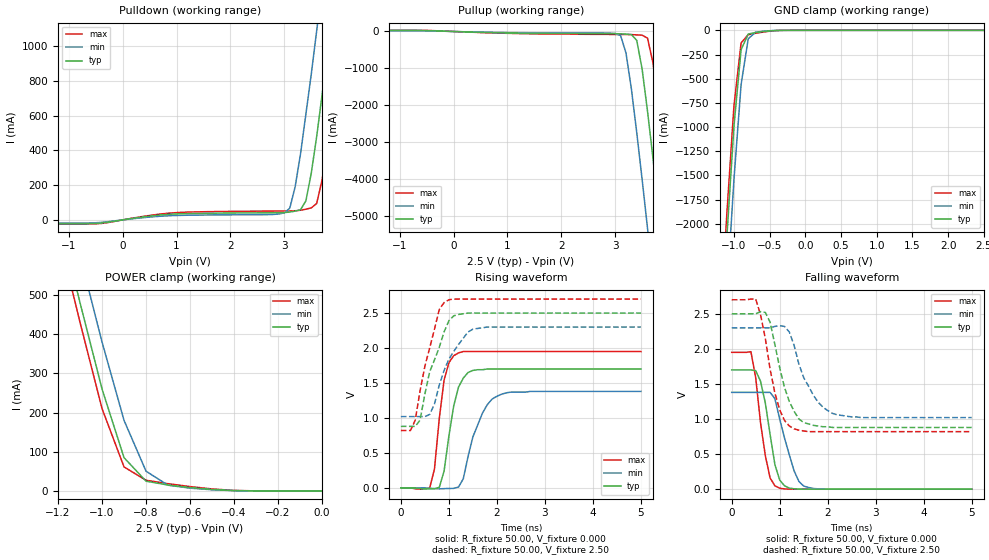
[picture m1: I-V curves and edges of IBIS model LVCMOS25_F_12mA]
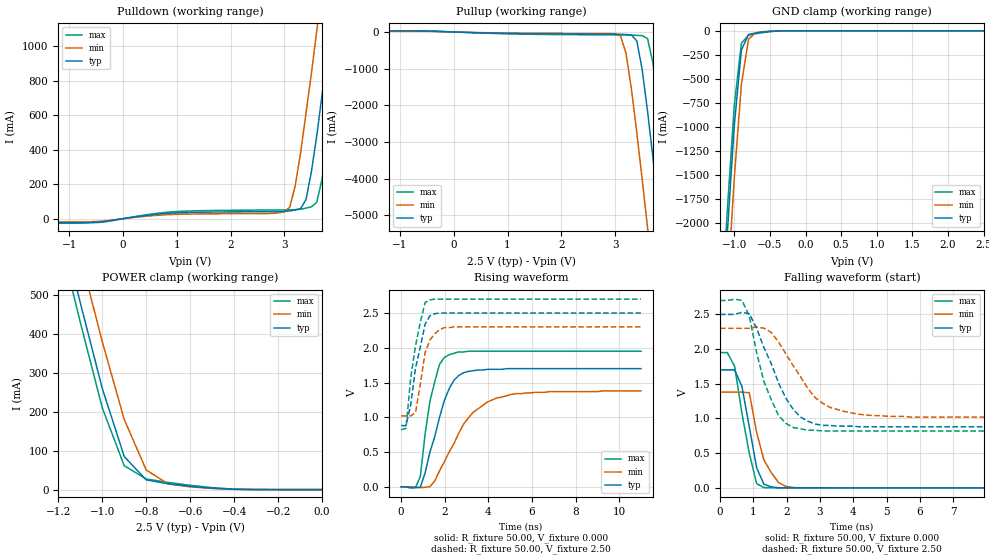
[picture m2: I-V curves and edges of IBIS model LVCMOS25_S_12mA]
| / 7\'7
| \ \   Xilinx Inc.
| / /
| \_\/.\   IBIS Models for Spartan-3
| IBIS file spartan3.ibs created by appending individual files created
| using s2ibis2 version 1.1 North Carolina State University
| Electronics Research Laboratory 1995
[IBIS ver]   3.2
[File name]   TOP.ibs
[File Rev]   3.4.4
[Date]   Fri Jan 08 12:42:32 2016
[Source]   Spartan-3 layout and silicon models.
[Notes]   Xilinx Spartan-3 I/O IBIS models.
   To accurately model package parasitics, please follow the
   instructions at:  http://www.xilinx.com/xlnx/
   xil_ans_display.jsp?getPagePath=11754
   LVDS and LVPECL drivers require the use of external
   termination resistors to provide the correct voltage levels.
   For more information, refer to the Spartan-3 documentation.
   NOTE: This file is compliant with IBIS Version 3.2, but it
   may not implement all approved 3.2 features.
   NOTE:  Newer versions of the buffer models may be available.
   Check the web (http://www.xilinx.com/support/sw_ibis.htm) for
   the latest file revision.  However, please be aware that the
   web files are not compatible for use with IBISWriter, and
   must be manually annotated, should their use be preferred.
[Disclaimer] The data in these models is derived from HSPICE simulations
                 using modeling information extracted from the target process.
                 While a great deal of care has been taken to provide
                 information that is accurate, this model is considered
                 PRELIMINARY as it has not been verified by actual silicon
                 measurement.
[Copyright]   Copyright 2004 Xilinx Inc., All rights reserved.
|   Component Spartan-3
[Component]   Spartan-3
[Manufacturer]   Xilinx, Inc.
[Package]
| For Package Type ft256
| variable   typ   min   max
R_pkg   0.141m   0.94m   0.185m
L_pkg   4.0nH   1.9nH   6.0nH
C_pkg   0.8pF   0.6pF   0.9pF
[Pin]  signal_name   model_name   R_pin   L_pin   C_pin
B1   IO_L01P_7/VRN_7   NC
C1   IO_L01N_7/VRP_7   NC
C3   IO_L16P_7/VREF_7   NC
C2   IO_L16N_7   NC
D2   IO_L17P_7   NC
D1   IO_L17N_7   NC
D3   IO_L19P_7   NC
E3   IO_L19N_7/VREF_7   NC
E2   IO_L20P_7   NC
E1   IO_L20N_7   NC
E4   IO_L21P_7   NC
F4   IO_L21N_7   NC
F3   IO_L22P_7   NC
F2   IO_L22N_7   NC
F5   IO_L23P_7   NC
G5   IO_L23N_7   NC
G4   IO_L24P_7   NC
G3   IO_L24N_7   NC
G2   IO   NC
H4   IO_L39P_7   NC
H3   IO_L39N_7   NC
G1   IO_L40P_7   NC
H1   IO_L40N_7/VREF_7   NC
J1   IO_L40P_6/VREF_6   NC
J2   IO_L40N_6   NC
J3   IO_L39P_6   NC
J4   IO_L39N_6   NC
K1   IO   NC
K2   IO_L24P_6   NC
K3   IO_L24N_6/VREF_6   NC
K4   IO_L23P_6   NC
K5   IO_L23N_6   NC
L2   IO_L22P_6   NC
L3   IO_L22N_6   NC
L4   IO_L21P_6   NC
L5   IO_L21N_6   NC
M1   IO_L20P_6   NC
M2   IO_L20N_6   NC
M3   IO_L19P_6   NC
M4   IO_L19N_6   NC
N1   IO_L17P_6/VREF_6   NC
N2   IO_L17N_6   NC
N3   IO_L16P_6   NC
P2   IO_L16N_6   NC
P1   IO_L01P_6/VRN_6   NC
R1   IO_L01N_6/VRP_6   NC
T2   M1   LVCMOS25_F_12mA
P3   M0   LVCMOS25_F_12mA
P4   M2   LVCMOS25_F_12mA
R3   CS_B   LVCMOS25_F_12mA
T3   RDWR_B   LVCMOS25_F_12mA
R4   IO_L10P_5/VRN_5   NC
T4   IO_L10N_5/VRP_5   NC
T5   IO   NC
P5   IO_L27P_5   NC
R5   IO_L27N_5/VREF_5   NC
M6   D7   LVCMOS25_F_12mA
N6   D6   LVCMOS25_F_12mA
N5   IO   NC
P6   IO_L29P_5/VREF_5   NC
R6   IO_L29N_5   NC
M7   IO_L30P_5   NC
N7   IO_L30N_5   NC
P7   IO   NC
R7   D5   LVCMOS25_F_12mA
T7   D4   LVCMOS25_F_12mA
N8   GCLK2   LVCMOS25_F_12mA
P8   GCLK3   LVCMOS25_F_12mA
T8   IO/VREF_5   NC
T9   GCLK0   LVCMOS25_F_12mA
R9   GCLK1   LVCMOS25_F_12mA
P9   DOUT/BUSY   NC
N9   INIT_B   LVCMOS25_F_12mA
T10   IO/VREF_4   NC
R10   D3   LVCMOS25_F_12mA
P10   D2   LVCMOS25_F_12mA
N10   IO_L29P_4   NC
M10   IO_L29N_4   NC
R11   IO_L28P_4   NC
P11   IO_L28N_4   NC
N11   D1   LVCMOS25_F_12mA
M11   DIN/D0   LVCMOS25_F_12mA
T12   IO   NC
R12   IO_L25P_4   NC
P12   IO_L25N_4   NC
N12   IO/VREF_4   NC
T14   IO   NC
T13   IO_L01P_4/VRN_4   NC
R13   IO_L01N_4/VRP_4   NC
P13   IO/VREF_4   NC
R14   DONE   LVCMOS25_F_12mA
T15   CCLK   LVCMOS25_S_12mA
R16   IO_L01P_3/VRN_3   NC
P16   IO_L01N_3/VRP_3   NC
P14   IO_L16P_3   NC
P15   IO_L16N_3   NC
N15   IO_L17P_3/VREF_3   NC
N16   IO_L17N_3   NC
N14   IO_L19P_3   NC
M14   IO_L19N_3   NC
M15   IO_L20P_3   NC
M16   IO_L20N_3   NC
M13   IO_L21P_3   NC
L13   IO_L21N_3   NC
L14   IO_L22P_3   NC
L15   IO_L22N_3   NC
L12   IO_L23P_3/VREF_3   NC
K12   IO_L23N_3   NC
K13   IO_L24P_3   NC
K14   IO_L24N_3   NC
K15   IO   NC
J13   IO_L39P_3   NC
J14   IO_L39N_3   NC
K16   IO_L40P_3   NC
J16   IO_L40N_3/VREF_3   NC
H16   IO_L40P_2/VREF_2   NC
H15   IO_L40N_2   NC
H14   IO_L39P_2   NC
H13   IO_L39N_2   NC
G16   IO   NC
G15   IO_L24P_2   NC
G14   IO_L24N_2   NC
G13   IO_L23P_2   NC
G12   IO_L23N_2/VREF_2   NC
F15   IO_L22P_2   NC
F14   IO_L22N_2   NC
F13   IO_L21P_2   NC
F12   IO_L21N_2   NC
E16   IO_L20P_2   NC
E15   IO_L20N_2   NC
E14   IO_L19P_2   NC
E13   IO_L19N_2   NC
D16   IO_L17P_2/VREF_2   NC
D15   IO_L17N_2   NC
D14   IO_L16P_2   NC
C15   IO_L16N_2   NC
C16   IO_L01P_2/VRN_2   NC
B16   IO_L01N_2/VRP_2   NC
A15   TDO   LVCMOS25_F_12mA
C14   TCK   LVCMOS25_F_12mA
C13   TMS   LVCMOS25_F_12mA
B14   IO_L01P_1/VRN_1   NC
A14   IO_L01N_1/VRP_1   NC
B13   IO_L10P_1   NC
A13   IO_L10N_1/VREF_1   NC
A12   IO   NC
C12   IO_L27P_1   NC
B12   IO_L27N_1   NC
E11   IO_L28P_1   NC
D11   IO_L28N_1   NC
D12   IO/VREF_1   NC
C11   IO_L29P_1   NC
B11   IO_L29N_1   NC
E10   IO_L30P_1   NC
D10   IO_L30N_1   NC
C10   IO   NC
B10   IO_L31P_1   NC
A10   IO_L31N_1/VREF_1   NC
D9   GCLK4   LVCMOS25_F_12mA
C9   GCLK5   LVCMOS25_F_12mA
A9   IO   NC
A8   GCLK6   LVCMOS25_F_12mA
B8   GCLK7   LVCMOS25_F_12mA
C8   IO_L31P_0/VREF_0   NC
D8   IO_L31N_0   NC
A7   IO   NC
B7   IO_L30P_0   NC
C7   IO_L30N_0   NC
D7   IO_L29P_0   NC
E7   IO_L29N_0   NC
B6   IO_L28P_0   NC
C6   IO_L28N_0   NC
D6   IO_L27P_0   NC
E6   IO_L27N_0   NC
A5   IO   NC
B5   IO_L25P_0   NC
C5   IO_L25N_0   NC
D5   IO/VREF_0   NC
A4   IO_L01P_0/VRN_0   NC
B4   IO_L01N_0/VRP_0   NC
A3   IO/VREF_0   NC
C4   HSWAP_EN   LVCMOS25_F_12mA
B3   PROG_B   LVCMOS25_F_12mA
A2   TDI   LVCMOS25_F_12mA
B2   GND   GND
H2   GND   GND
R2   GND   GND
F6   GND   GND
L6   GND   GND
G7   GND   GND
H7   GND   GND
J7   GND   GND
K7   GND   GND
G8   GND   GND
H8   GND   GND
J8   GND   GND
K8   GND   GND
R8   GND   GND
B9   GND   GND
G9   GND   GND
H9   GND   GND
J9   GND   GND
K9   GND   GND
G10   GND   GND
H10   GND   GND
J10   GND   GND
K10   GND   GND
F11   GND   GND
L11   GND   GND
B15   GND   GND
J15   GND   GND
R15   GND   GND
A16   GND   GND
T16   GND   GND
A1   GND   GND
T1   GND   GND
A11   VCCAUX   POWER
A6   VCCAUX   POWER
F1   VCCAUX   POWER
F16   VCCAUX   POWER
L1   VCCAUX   POWER
L16   VCCAUX   POWER
T11   VCCAUX   POWER
T6   VCCAUX   POWER
E8   VCCO_0   POWER
F7   VCCO_0   POWER
F8   VCCO_0   POWER
E9   VCCO_1   POWER
F10   VCCO_1   POWER
F9   VCCO_1   POWER
G11   VCCO_2   POWER
H11   VCCO_2   POWER
H12   VCCO_2   POWER
J11   VCCO_3   POWER
J12   VCCO_3   POWER
K11   VCCO_3   POWER
L10   VCCO_4   POWER
L9   VCCO_4   POWER
M9   VCCO_4   POWER
L7   VCCO_5   POWER
L8   VCCO_5   POWER
M8   VCCO_5   POWER
J5   VCCO_6   POWER
J6   VCCO_6   POWER
K6   VCCO_6   POWER
G6   VCCO_7   POWER
H5   VCCO_7   POWER
H6   VCCO_7   POWER
D13   VCCINT   POWER
D4   VCCINT   POWER
E12   VCCINT   POWER
E5   VCCINT   POWER
M12   VCCINT   POWER
M5   VCCINT   POWER
N13   VCCINT   POWER
N4   VCCINT   POWER
[Diff Pin]   inv_pin   vdiff   tdelay_typ   tdelay_min   tdelay_max
| Models and submodels in the file (2): LVCMOS25_F_12mA (I/O), LVCMOS25_S_12mA (I/O)
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|   Model LVCMOS25_F_12mA
[Model]   LVCMOS25_F_12mA
Model_type   I/O
Polarity   Non-Inverting
Enable   Active-Low
Vinl =   0.70V
Vinh =   1.70V
Vmeas =   1.25V
Cref =  0.000F
Rref =   1.00M
Vref =  0.000V
C_comp   6.38pF   4.60pF   8.23pF
[Temperature Range]   25.00   85.00   0.000
[Voltage Range]   2.50V   2.30V   2.70V
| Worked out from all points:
|   slope of the pulldown table from 0 to 0.375 V, typ, clamps not added: 22.4 ohm
|   slope of the pullup table from 0 to 0.375 V, typ, clamps not added: 20.9 ohm
|   GND clamp passes 1 mA (typ) near -0.38 V on its own axis
|   POWER clamp passes 1 mA (typ) near -0.41 V on its own axis
|   rising waveform, R_fixture 50.00, V_fixture 0.000: 20-80 % time 250ps typ, 383ps min, 191ps max; typ from 0 V to 1.7 V
|   rising waveform, R_fixture 50.00, V_fixture 2.50: 20-80 % time 412ps typ, 466ps min, 365ps max; typ from 0.88 V to 2.5 V
|   falling waveform, R_fixture 50.00, V_fixture 0.000: 20-80 % time 246ps typ, 329ps min, 223ps max; typ from 1.7 V to 0 V
|   falling waveform, R_fixture 50.00, V_fixture 2.50: 20-80 % time 369ps typ, 462ps min, 324ps max; typ from 2.5 V to 0.88 V
[Pulldown]
| voltage   I(typ)   I(min)   I(max)
-2.5V     -22.79mA   -18.33mA   -24.32mA
3V        42.13mA    39.99mA    51.17mA
3.1V      45.16mA    67.34mA    51.44mA
3.2V      50.35mA    190mA      52.36mA
3.4V      110mA      610mA      61.47mA
3.5V      270mA      840mA      69.07mA
3.6V      480mA      1.09A      94.52mA
3.7V      720mA      1.34A      230mA
3.8V      960mA      1.59A      440mA
4V        1.47A      2.1A       920mA
4.2V      1.98A      2.62A      1.42A
5V        4.06A      4.7A       3.49A
[Pullup]
| voltage   I(typ)   I(min)   I(max)
-2.5V     29.39mA    22.89mA    32.78mA
3.1V      -62.94mA   -110mA     -80.48mA
3.2V      -69.54mA   -580mA     -81.46mA
3.3V      -83.32mA   -1.55A     -84.45mA
3.4V      -240mA     -2.74A     -91.48mA
3.5V      -1.02A     -4.01A     -100mA
3.6V      -2.16A     -5.33A     -180mA
3.7V      -3.42A     -6.68A     -840mA
3.8V      -4.74A     -8.05A     -1.95A
4V        -7.47A     -10.81A    -4.52A
4.2V      -10.25A    -13.6A     -7.24A
5V        -21.56A    -24.91A    -18.51A
[GND_clamp]
| voltage   I(typ)   I(min)   I(max)
-2.5V     -21.56A    -22.07A    -21.35A
-1.2V     -3.41A     -4.01A     -3.17A
-1.1V     -2.14A     -2.73A     -1.9A
-1V       -990mA     -1.54A     -780mA
-900mV    -200mA     -560mA     -130mA
-800mV    -38.51mA   -87.42mA   -44.56mA
-700mV    -22.72mA   -20.52mA   -30.56mA
-400mV    -1.21mA    -970uA     -2.67mA
2.5V      19.29nA    8.49uA     24.01nA
[POWER_clamp]
| voltage   I(typ)   I(min)   I(max)
-2.5V     4.06A      4.18A      4.02A
-1.2V     710mA      840mA      660mA
-1.1V     480mA      600mA      430mA
-1V       260mA      380mA      210mA
-900mV    84.79mA    180mA      61.18mA
-800mV    24.88mA    50.29mA    27.26mA
-700mV    15.03mA    14.55mA    18.43mA
-600mV    8.66mA     7.1mA      11.09mA
-400mV    790uA      730uA      1.23mA
0V        19.29nA    79.37nA    32.11nA
[Ramp]
dV/dt_r   1.02/0.24n   0.83/0.36n   1.17/0.19n
dV/dt_f   0.97/0.36n   0.77/0.46n   1.13/0.31n
R_load = 50.00
[Rising Waveform]
R_fixture = 50.00
V_fixture = 0.000
| time   V(typ)   V(min)   V(max)
0s        0V         1.57uV     0V
600ps     -12.38mV   -4.86mV    -2.14mV
700ps     -9.94mV    -10.81mV   270mV
900ps     240mV      -10.52mV   1.54V
1.1ns     1.17V      -6.78mV    1.89V
1.2ns     1.44V      12.6mV     1.93V
1.4ns     1.65V      450mV      1.95V
1.7ns     1.69V      1.07V      1.95V
2ns       1.7V       1.31V      1.95V
5ns       1.7V       1.38V      1.95V
[Rising Waveform]
R_fixture = 50.00
V_fixture = 2.50
V_fixture_min = 2.30
V_fixture_max = 2.70
| time   V(typ)   V(min)   V(max)
0s        880mV      1.02V      820mV
200ps     880mV      1.02V      820mV
300ps     880mV      1.02V      970mV
400ps     970mV      1.02V      1.39V
600ps     1.66V      1.05V      2V
700ps     1.83V      1.2V       2.27V
800ps     2.01V      1.47V      2.55V
1ns       2.39V      1.84V      2.69V
1.5ns     2.5V       2.27V      2.7V
5ns       2.5V       2.3V       2.7V
[Falling Waveform]
R_fixture = 50.00
V_fixture = 0.000
| time   V(typ)   V(min)   V(max)
0s        1.7V       1.38V      1.95V
400ps     1.7V       1.38V      1.96V
500ps     1.69V      1.38V      1.59V
600ps     1.54V      1.38V      950mV
800ps     780mV      1.38V      160mV
900ps     350mV      1.29V      47.26mV
1ns       130mV      1V         14.08mV
1.3ns     4.83mV     260mV      220uV
1.5ns     330uV      43.95mV    6.05uV
5ns       0V         0V         0V
[Falling Waveform]
R_fixture = 50.00
V_fixture = 2.50
V_fixture_min = 2.30
V_fixture_max = 2.70
| time   V(typ)   V(min)   V(max)
0s        2.5V       2.3V       2.7V
500ps     2.5V       2.3V       2.71V
700ps     2.52V      2.3V       2.15V
800ps     2.38V      2.3V       1.71V
1ns       1.73V      2.33V      1.13V
1.3ns     1.11V      2.05V      860mV
1.5ns     950mV      1.59V      830mV
1.7ns     910mV      1.34V      820mV
2.1ns     880mV      1.08V      820mV
5ns       880mV      1.02V      820mV
|   Model LVCMOS25_S_12mA
[Model]   LVCMOS25_S_12mA
Model_type   I/O
Polarity   Non-Inverting
Enable   Active-Low
Vinl =   0.70V
Vinh =   1.70V
Vmeas =   1.25V
Cref =  0.000F
Rref =   1.00M
Vref =  0.000V
C_comp   6.38pF   4.60pF   8.23pF
[Temperature Range]   25.00   85.00   0.000
[Voltage Range]   2.50V   2.30V   2.70V
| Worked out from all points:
|   slope of the pulldown table from 0 to 0.375 V, typ, clamps not added: 22.4 ohm
|   slope of the pullup table from 0 to 0.375 V, typ, clamps not added: 20.9 ohm
|   GND clamp passes 1 mA (typ) near -0.38 V on its own axis
|   POWER clamp passes 1 mA (typ) near -0.41 V on its own axis
|   rising waveform, R_fixture 50.00, V_fixture 0.000: 20-80 % time 933ps typ, 1.61ns min, 617ps max; typ from 0 V to 1.7 V
|   rising waveform, R_fixture 50.00, V_fixture 2.50: 20-80 % time 541ps typ, 469ps min, 523ps max; typ from 0.88 V to 2.5 V
|   falling waveform, R_fixture 50.00, V_fixture 0.000: 20-80 % time 383ps typ, 489ps min, 434ps max; typ from 1.7 V to 0 V
|   falling waveform, R_fixture 50.00, V_fixture 2.50: 20-80 % time 901ps typ, 1.09ns min, 666ps max; typ from 2.5 V to 0.88 V
[Pulldown]
| voltage   I(typ)   I(min)   I(max)
-2.5V     -23.3mA    -18.33mA   -26.2mA
3V        42.13mA    39.99mA    51.11mA
3.1V      45.16mA    67.34mA    51.38mA
3.2V      50.35mA    190mA      52.3mA
3.4V      110mA      610mA      61.42mA
3.5V      270mA      840mA      69.02mA
3.6V      480mA      1.09A      94.47mA
3.7V      720mA      1.34A      230mA
3.8V      960mA      1.59A      440mA
4V        1.47A      2.1A       920mA
4.2V      1.98A      2.62A      1.42A
5V        4.06A      4.7A       3.49A
[Pullup]
| voltage   I(typ)   I(min)   I(max)
-2.5V     29.39mA    22.89mA    32.78mA
3.1V      -62.94mA   -110mA     -80.48mA
3.2V      -69.54mA   -580mA     -81.46mA
3.3V      -83.32mA   -1.55A     -84.45mA
3.4V      -240mA     -2.74A     -91.48mA
3.5V      -1.02A     -4.01A     -100mA
3.6V      -2.16A     -5.33A     -180mA
3.7V      -3.42A     -6.68A     -840mA
3.8V      -4.74A     -8.05A     -1.95A
4V        -7.47A     -10.81A    -4.52A
4.2V      -10.25A    -13.6A     -7.24A
5V        -21.56A    -24.91A    -18.51A
[GND_clamp]
| voltage   I(typ)   I(min)   I(max)
-2.5V     -21.56A    -22.07A    -21.35A
-1.2V     -3.41A     -4.01A     -3.17A
-1.1V     -2.14A     -2.73A     -1.9A
-1V       -990mA     -1.54A     -780mA
-900mV    -200mA     -560mA     -130mA
-800mV    -38.51mA   -87.42mA   -44.56mA
-700mV    -22.72mA   -20.52mA   -30.56mA
-400mV    -1.21mA    -970uA     -2.67mA
2.5V      19.29nA    8.49uA     24.01nA
[POWER_clamp]
| voltage   I(typ)   I(min)   I(max)
-2.5V     4.06A      4.18A      4.02A
-1.2V     710mA      840mA      660mA
-1.1V     480mA      600mA      430mA
-1V       260mA      380mA      210mA
-900mV    84.79mA    180mA      61.18mA
-800mV    24.88mA    50.29mA    27.26mA
-700mV    15.03mA    14.55mA    18.43mA
-600mV    8.66mA     7.1mA      11.09mA
-400mV    790uA      730uA      1.23mA
0V        19.29nA    79.37nA    32.11nA
[Ramp]
dV/dt_r   1.02/0.87n   0.83/1.68n   1.17/0.58n
dV/dt_f   0.97/0.82n   0.77/1.19n   1.13/0.63n
R_load = 50.00
[Rising Waveform]
R_fixture = 50.00
V_fixture = 0.000
| time   V(typ)   V(min)   V(max)
0s        0V         1.57uV     0V
660ps     -11.67mV   -6.64mV    -10.51mV
880ps     -6.84mV    -12.52mV   150mV
1.32ns    500mV      2.32mV     1.23V
1.76ns    1V         230mV      1.76V
2.2ns     1.41V      500mV      1.9V
2.64ns    1.6V       770mV      1.94V
3.3ns     1.67V      1.07V      1.95V
4.4ns     1.69V      1.28V      1.95V
11ns      1.7V       1.38V      1.95V
[Rising Waveform]
R_fixture = 50.00
V_fixture = 2.50
V_fixture_min = 2.30
V_fixture_max = 2.70
| time   V(typ)   V(min)   V(max)
0s        880mV      1.02V      820mV
220ps     880mV      1.02V      840mV
440ps     1.18V      1.02V      1.57V
660ps     1.71V      1.07V      2.03V
880ps     2.01V      1.48V      2.37V
1.1ns     2.34V      1.93V      2.65V
1.32ns    2.46V      2.11V      2.69V
1.76ns    2.5V       2.26V      2.7V
2.42ns    2.5V       2.3V       2.7V
11ns      2.5V       2.3V       2.7V
[Falling Waveform]
R_fixture = 50.00
V_fixture = 0.000
| time   V(typ)   V(min)   V(max)
0s        1.7V       1.38V      1.95V
220ps     1.7V       1.38V      1.95V
440ps     1.7V       1.38V      1.75V
660ps     1.46V      1.38V      1.07V
880ps     880mV      1.37V      500mV
1.1ns     290mV      800mV      61.49mV
1.32ns    52.25mV    400mV      3.4mV
1.76ns    1.88mV     75.37mV    710uV
2.2ns     640uV      4.99mV     270uV
11ns      160nV      1.61uV     230nV
[Falling Waveform]
R_fixture = 50.00
V_fixture = 2.50
V_fixture_min = 2.30
V_fixture_max = 2.70
| time   V(typ)   V(min)   V(max)
0s        2.5V       2.3V       2.7V
660ps     2.53V      2.3V       2.7V
880ps     2.51V      2.3V       2.48V
1.32ns    2.02V      2.3V       1.53V
1.76ns    1.51V      2.1V       1.04V
2.2ns     1.13V      1.76V      870mV
2.64ns    960mV      1.43V      830mV
3.08ns    900mV      1.22V      820mV
4.18ns    880mV      1.06V      820mV
11ns      880mV      1.02V      820mV
